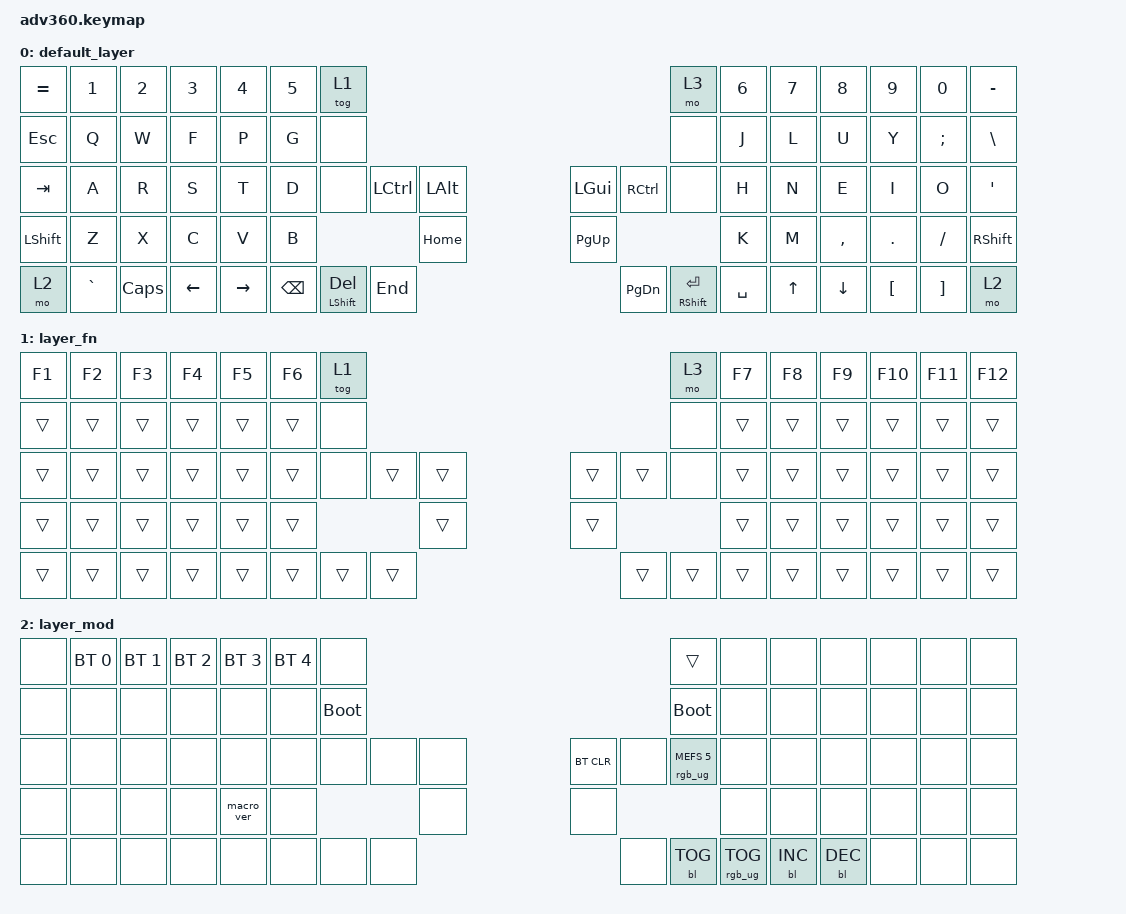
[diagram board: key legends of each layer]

/*
 * Copyright (c) 2020 The ZMK Contributors
 *
 * SPDX-License-Identifier: MIT
 */


/* THIS FILE WAS GENERATED!
 *
 * This file was generated automatically. You may or may not want to
 * edit it directly.
 */

#include <behaviors.dtsi>
#include <dt-bindings/zmk/keys.h>
#include <dt-bindings/zmk/bt.h>
#include <dt-bindings/zmk/rgb.h>
#include <dt-bindings/zmk/backlight.h>

/ {
  behaviors {
    #include "macros.dtsi"
    #include "version.dtsi"

    hm: homerow_mods {
        compatible = "zmk,behavior-hold-tap";
        label = "HOMEROW_MODS";
        #binding-cells = <2>;
        tapping-term-ms = <200>;
        quick_tap_ms = <175>;
        flavor = "tap-preferred";
        bindings = <&kp>, <&kp>;
    };
  };

    keymap {
        compatible = "zmk,keymap";


        default_layer {
            bindings = <
 &kp EQUAL     &kp N1    &kp N2    &kp N3     &kp N4  &kp N5                   &tog 1                                                                                         &mo 3  &kp N6  &kp N7     &kp N8    &kp N9         &kp N0  &kp MINUS
   &kp ESC      &kp Q     &kp W     &kp F      &kp P   &kp G                    &none                                                                                         &none   &kp J   &kp L      &kp U     &kp Y  &kp SEMICOLON   &kp BSLH
   &kp TAB      &kp A     &kp R     &kp S      &kp T   &kp D                    &none              &kp LCTRL  &kp LALT                   &kp LGUI              &kp RCTRL      &none   &kp H   &kp N      &kp E     &kp I          &kp O    &kp SQT
 &kp LSHFT      &kp Z     &kp X     &kp C      &kp V   &kp B                                                  &kp HOME                  &kp PG_UP                                     &kp K   &kp M  &kp COMMA   &kp DOT       &kp FSLH  &kp RSHFT
     &mo 2  &kp GRAVE  &kp CAPS  &kp LEFT  &kp RIGHT                    &kp BACKSPACE  &mt LEFT_SHIFT DELETE   &kp END                  &kp PG_DN  &mt RIGHT_SHIFT ENTER  &kp SPACE          &kp UP   &kp DOWN  &kp LBKT       &kp RBKT      &mo 2
            >;
        };

        layer_fn {
            bindings = <
 &kp F1  &kp F2  &kp F3  &kp F4  &kp F5  &kp F6            &tog 1                                                   &mo 3  &kp F7  &kp F8  &kp F9  &kp F10  &kp F11  &kp F12
 &trans  &trans  &trans  &trans  &trans  &trans             &none                                                   &none  &trans  &trans  &trans   &trans   &trans   &trans
 &trans  &trans  &trans  &trans  &trans  &trans             &none  &trans  &trans                  &trans  &trans   &none  &trans  &trans  &trans   &trans   &trans   &trans
 &trans  &trans  &trans  &trans  &trans  &trans                            &trans                  &trans                  &trans  &trans  &trans   &trans   &trans   &trans
 &trans  &trans  &trans  &trans  &trans                    &trans  &trans  &trans                  &trans  &trans  &trans          &trans  &trans   &trans   &trans   &trans
            >;
        };

        layer_mod {
            bindings = <
  &none  &bt BT_SEL 0  &bt BT_SEL 1  &bt BT_SEL 2  &bt BT_SEL 3  &bt BT_SEL 4                  &none                                                                          &trans   &none       &none       &none   &none   &none   &none
  &none         &none         &none         &none         &none         &none            &bootloader                                                                     &bootloader   &none       &none       &none   &none   &none   &none
  &none         &none         &none         &none         &none         &none                  &none   &none   &none                  &bt BT_CLR       &none  &rgb_ug RGB_MEFS_CMD 5   &none       &none       &none   &none   &none   &none
  &none         &none         &none         &none    &macro_ver         &none                                  &none                       &none                                       &none       &none       &none   &none   &none   &none
  &none         &none         &none         &none         &none                                &none   &none   &none                       &none  &bl BL_TOG         &rgb_ug RGB_TOG          &bl BL_INC  &bl BL_DEC   &none   &none   &none
            >;
        };

    };
};
